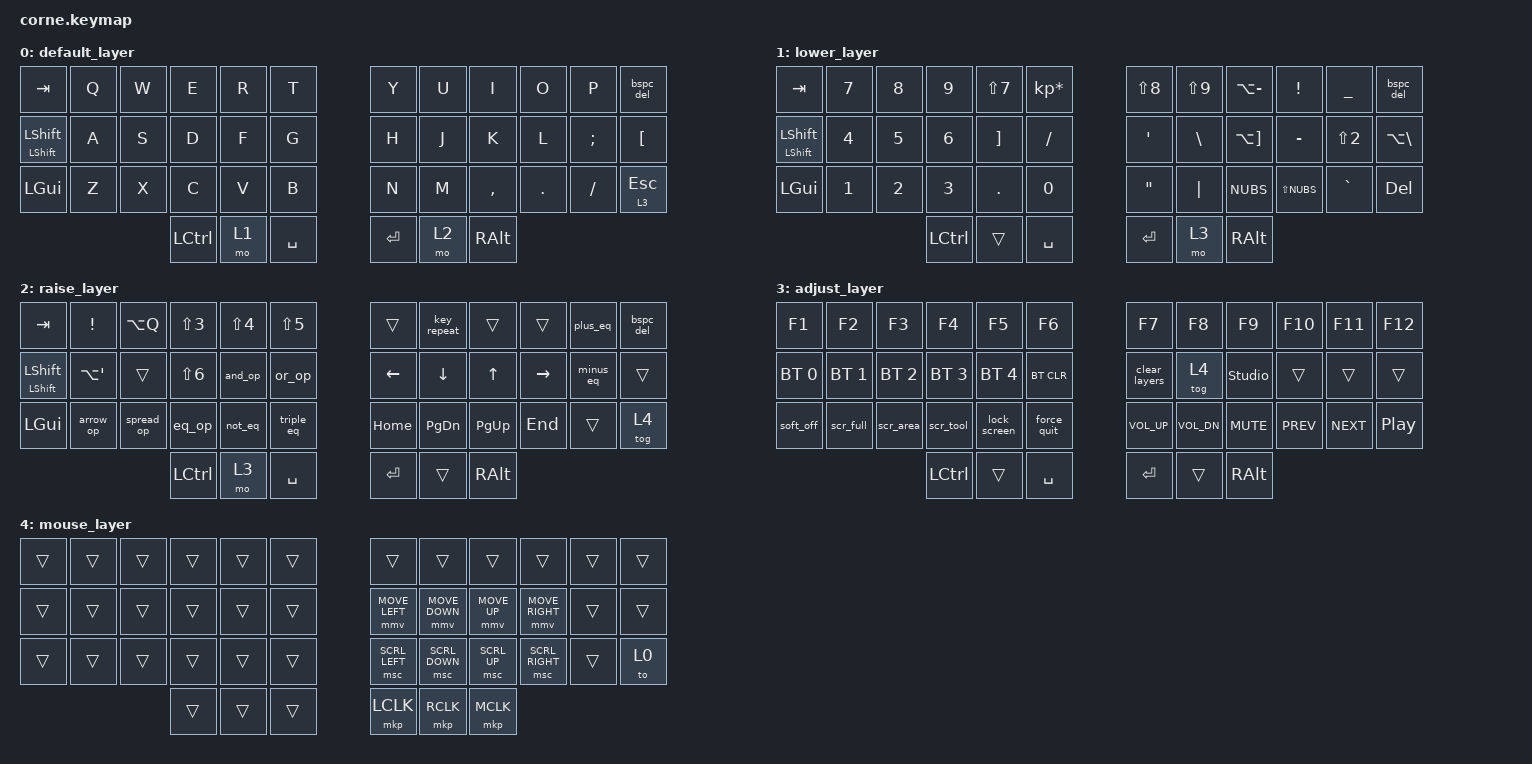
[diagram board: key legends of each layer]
/*
 * Copyright (c) 2020 The ZMK Contributors
 *
 * SPDX-License-Identifier: MIT
 */

#include <behaviors.dtsi>
#include <dt-bindings/zmk/keys.h>
#include <dt-bindings/zmk/bt.h>
#include <dt-bindings/zmk/pointing.h>

/ {
        macros {
                scr_full: screenshot_full {
                        compatible = "zmk,behavior-macro";
                        #binding-cells = <0>;
                        bindings = <&macro_press &kp LGUI>
                                 , <&macro_press &kp LSHFT>
                                 , <&macro_tap &kp N3>
                                 , <&macro_release &kp LSHFT>
                                 , <&macro_release &kp LGUI>;
                };
                scr_area: screenshot_area {
                        compatible = "zmk,behavior-macro";
                        #binding-cells = <0>;
                        bindings = <&macro_press &kp LGUI>
                                 , <&macro_press &kp LSHFT>
                                 , <&macro_tap &kp N4>
                                 , <&macro_release &kp LSHFT>
                                 , <&macro_release &kp LGUI>;
                };
                scr_tool: screenshot_tool {
                        compatible = "zmk,behavior-macro";
                        #binding-cells = <0>;
                        bindings = <&macro_press &kp LGUI>
                                 , <&macro_press &kp LSHFT>
                                 , <&macro_tap &kp N5>
                                 , <&macro_release &kp LSHFT>
                                 , <&macro_release &kp LGUI>;
                };
                
                arrow_op: arrow_op {
                        compatible = "zmk,behavior-macro";
                        #binding-cells = <0>;
                        bindings = <&kp LS(N0) &kp LS(NUBS)>;  // =>
                };
                
                spread_op: spread_op {
                        compatible = "zmk,behavior-macro";
                        #binding-cells = <0>;
                        bindings = <&kp DOT &kp DOT &kp DOT>;  // ...
                };
                
                eq_op: eq_op {
                        compatible = "zmk,behavior-macro";
                        #binding-cells = <0>;
                        bindings = <&kp LS(N0) &kp LS(N0)>;   // ==
                };
                
                and_op: and_op {
                        compatible = "zmk,behavior-macro";
                        #binding-cells = <0>;
                        bindings = <&kp LS(N6) &kp LS(N6)>;
                };
                
                or_op: or_op {
                        compatible = "zmk,behavior-macro";
                        #binding-cells = <0>;
                        bindings = <&kp GRAVE &kp GRAVE>;
                };
                
                lock_screen: lock_screen {
                        compatible = "zmk,behavior-macro";
                        #binding-cells = <0>;
                        bindings = <&macro_press &kp LGUI>
                                 , <&macro_press &kp LCTRL>
                                 , <&macro_tap &kp Q>
                                 , <&macro_release &kp LCTRL>
                                 , <&macro_release &kp LGUI>;
                };
                
                force_quit: force_quit {
                        compatible = "zmk,behavior-macro";
                        #binding-cells = <0>;
                        bindings = <&macro_press &kp LGUI>
                                 , <&macro_press &kp LALT>
                                 , <&macro_tap &kp ESC>
                                 , <&macro_release &kp LALT>
                                 , <&macro_release &kp LGUI>;
                };
                
                plus_eq: plus_eq {
                        compatible = "zmk,behavior-macro";
                        #binding-cells = <0>;
                        bindings = <&kp RBKT &kp LS(N0)>;
                };
                
                minus_eq: minus_eq {
                        compatible = "zmk,behavior-macro";
                        #binding-cells = <0>;
                        bindings = <&kp FSLH &kp LS(N0)>;
                };
                
                not_eq: not_eq {
                        compatible = "zmk,behavior-macro";
                        #binding-cells = <0>;
                        bindings = <&kp EXCL &kp LS(N0) &kp LS(N0)>;
                };
                
                triple_eq: triple_eq {
                        compatible = "zmk,behavior-macro";
                        #binding-cells = <0>;
                        bindings = <&kp LS(N0) &kp LS(N0) &kp LS(N0)>;
                };
                
                clear_layers: clear_layers {
                        compatible = "zmk,behavior-macro";
                        #binding-cells = <0>;
                        bindings = <&to 0>;
                };
        };

        keymap {
                compatible = "zmk,keymap";

                default_layer {
// -----------------------------------------------------------------------------------------
// |  TAB |  Q  |  W  |  E  |  R  |  T  |   |  Y  |  U  |  I  |  O  |  P  | BSDL |
// | SSFT |  A  |  S  |  D  |  F  |  G  |   |  H  |  J  |  K  |  L  |  Ñ  |  ´   |
// | GUI  |  Z  |  X  |  C  |  V  |  B  |   |  N  |  M  |  ,  |  .  |  /  | ESC  |
//                    |CTRL | LWR | SPC |   | ENT | RSE |RALT |
                        bindings = <
   &kp TAB   &kp Q &kp W &kp E &kp R &kp T   &kp Y &kp U  &kp I     &kp O   &kp P    &bspc_del
   &smart_shft LSHFT LSHFT &kp A &kp S &kp D &kp F &kp G   &kp H &kp J  &kp K     &kp L   &kp SEMI &kp LBKT
   &kp LGUI  &kp Z &kp X &kp C &kp V &kp B   &kp N &kp M  &kp COMMA &kp DOT &kp FSLH &lt_fast 3 ESC
                  &kp LCTRL &mo 1 &kp SPACE   &kp RET &mo 2 &kp RALT
                        >;
                };
                
                lower_layer {
// -----------------------------------------------------------------------------------------
// |  TAB |  7  |  8  |  9  |  /  |  *  |   |  (  |  )  |  \  |  !  |  ?  | BSDL |
// | SSFT |  4  |  5  |  6  |  +  |  -  |   |  {  |  }  |  ~  |  '  |  "  |  `  |
// | GUI  |  1  |  2  |  3  |  .  |  0  |   |  [  |  ]  |  <  |  >  |  |  | DEL  |
//                    |CTRL |     | SPC |   | ENT | ADJ |RALT |
                        bindings = <
   &kp TAB   &kp N7 &kp N8 &kp N9 &kp LS(N7) &kp KP_MULTIPLY    &kp LS(N8)     &kp LS(N9)     &kp LA(MINUS)  &kp EXCL      &kp UNDER      &bspc_del
   &smart_shft LSHFT LSHFT &kp N4 &kp N5 &kp N6 &kp RBKT   &kp FSLH           &kp SQT        &kp BSLH       &kp LA(RBKT)   &kp MINUS     &kp LS(N2)     &kp LA(BSLH)
   &kp LGUI  &kp N1 &kp N2 &kp N3 &kp DOT    &kp N0             &kp DQT        &kp PIPE       &kp NUBS       &kp LS(NUBS)  &kp GRAVE      &kp DEL
                          &kp LCTRL &trans &kp SPACE   &kp RET &mo 3  &kp RALT
                        >;
                };

                raise_layer {
// -----------------------------------------------------------------------------------------
// |  TAB |  !  |  @  |  #  |  $  |  %  |   |     | RPT |     |     | +=  | BSDL|
// | SSFT |  ^  |     |  &  | &&  | ||  |   | LFT | DWN | UP  | RGT | -=  |      |
// | GUI  | =>  | ... | ==  | !== | === |   | HOM | PGD | PGU | END |     |MOUSE |
//                    |CTRL | ADJ | SPC |   | ENT |     | ALTGR |
                        bindings = <
   &kp TAB   &kp EXCL     &kp LA(Q)    &kp LS(N3)    &kp LS(N4)   &kp LS(N5)     &trans         &key_repeat    &trans         &trans        &plus_eq       &bspc_del
   &smart_shft LSHFT LSHFT &kp LA(SQT)  &trans       &kp LS(N6)    &and_op      &or_op         &kp LEFT       &kp DOWN       &kp UP         &kp RIGHT     &minus_eq     &trans
   &kp LGUI  &arrow_op    &spread_op   &eq_op        &not_eq      &triple_eq     &kp HOME       &kp PG_DN      &kp PG_UP      &kp END       &trans        &tog 4
                                       &kp LCTRL     &mo 3        &kp SPACE      &kp RET   &trans      &kp RALT
                        >;
                };

                adjust_layer {
// -----------------------------------------------------------------------------------------
// |  F1  |  F2 |  F3 |  F4 |  F5 |  F6 |   |  F7 |  F8 |  F9 | F10 | F11 | F12  |
// | BT0  | BT1 | BT2 | BT3 | BT4 |BTCLR|   |CLEAR|MOUSE|UNLCK|     |     |     |
// | OFF  |SCR1 |SCR2 |SCR3 |LOCK |FORCE|   |VOL+ |VOL- |MUTE |PREV |NEXT |PLAY |
//                    |CTRL |     | SPC |   | ENT |     |RALT |
                        bindings = <
   &kp F1           &kp F2       &kp F3       &kp F4       &kp F5       &kp F6          &kp F7          &kp F8            &kp F9            &kp F10      &kp F11          &kp F12
   &bt BT_SEL 0     &bt BT_SEL 1 &bt BT_SEL 2 &bt BT_SEL 3 &bt BT_SEL 4 &bt BT_CLR      &clear_layers   &tog 4            &studio_unlock    &trans          &trans          &trans
   &soft_off         &scr_full   &scr_area    &scr_tool    &lock_screen &force_quit     &kp C_VOL_UP    &kp C_VOL_DN      &kp C_MUTE        &kp C_PREV   &kp C_NEXT       &kp C_PP
                                              &kp LCTRL    &trans       &kp SPACE       &kp RET         &trans            &kp RALT
                        >;
                };
                mouse_layer {
// -----------------------------------------------------------------------------------------
// |      |     |     |     |     |     |   |      |      |      |      |      |      |
// |      |     |     |     |     |     |   | M_LF | M_DN | M_UP | M_RT |      |      |
// |      |     |     |     |     |     |   | S_LF | S_DN | S_UP | S_RT |      | EXIT |
//                    |     |     |     |   | LCLK | RCLK | MCLK |
                        bindings = <
   &trans &trans &trans &trans &trans &trans   &trans          &trans          &trans        &trans           &trans &trans
   &trans &trans &trans &trans &trans &trans   &mmv MOVE_LEFT  &mmv MOVE_DOWN  &mmv MOVE_UP  &mmv MOVE_RIGHT  &trans &trans
   &trans &trans &trans &trans &trans &trans   &msc SCRL_LEFT  &msc SCRL_DOWN  &msc SCRL_UP  &msc SCRL_RIGHT  &trans &to 0
                        &trans &trans &trans   &mkp LCLK       &mkp RCLK       &mkp MCLK
                        >;
                };
        };

        behaviors {
                lth: layer_tap_hold {
                        compatible = "zmk,behavior-hold-tap";
                        label = "LAYER_TAP_HOLD";
                        #binding-cells = <2>;
                        tapping-term-ms = <200>;
                        quick-tap-ms = <150>;
                        flavor = "balanced";
                        bindings = <&mo>, <&kp>;
                        hold-trigger-key-positions = <0>;
                };
                
                lt_fast: layer_tap_fast {
                        compatible = "zmk,behavior-hold-tap";
                        label = "LAYER_TAP_FAST";
                        #binding-cells = <2>;
                        tapping-term-ms = <150>;  // Más rápido: 150ms
                        quick-tap-ms = <100>;
                        flavor = "tap-preferred";
                        bindings = <&mo>, <&kp>;
                };

                bspc_del: backspace_delete {
                        compatible = "zmk,behavior-mod-morph";
                        #binding-cells = <0>;
                        bindings = <&kp BSPC>, <&kp DEL>;
                        mods = <(MOD_LSFT|MOD_RSFT)>;
                };

                smart_shft: smart_shift {
                        compatible = "zmk,behavior-hold-tap";
                        #binding-cells = <2>;
                        tapping-term-ms = <200>;
                        quick-tap-ms = <150>;
                        flavor = "balanced";
                        bindings = <&kp>, <&sk>;
                };
        };

        combos {
                compatible = "zmk,combos";
                combo_caps_word {
                        timeout-ms = <50>;
                        key-positions = <16 19>;  // F + J (home row bumps)
                        bindings = <&caps_word>;
                        layers = <0>;
                };
        };

        // Sin conditional layers: ZMK desactiva el then-layer en cada cambio de capa si no
        // estan todas las if-layers, lo que mataria el &mo 3 de ESC.
        // Tri-layer manual: &mo 3 en el pulgar RSE de Lower y en el pulgar LWR de Raise.
        // Acceso a ADJUST:
        // - Opción 1: LOWER + RAISE (cualquier orden)
        // - Opción 2: Mantener ESC presionado (layer-tap)
};

&soft_off {
    hold-time-ms = <2000>;
};

// RGB disabled - no LEDs on this build
// &led_strip {
//     chain-length = <27>;
// };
